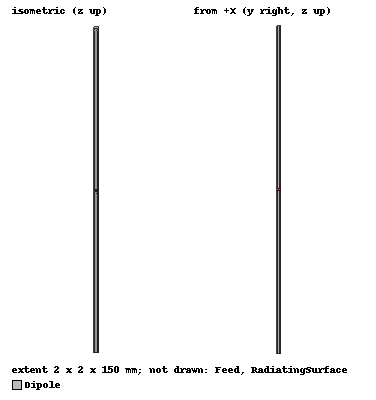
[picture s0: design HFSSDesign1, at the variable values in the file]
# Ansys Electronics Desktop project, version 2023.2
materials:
  vacuum: permittivity=1
  pec: conductivity=1e+30

design HFSSDesign1 (HFSS, HFSS Modal Network, model units mm)
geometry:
  Dipole [pec] = cylinder(axis=Z, base_centre=(0mm, 0mm, (-150/2) mm), radius=1mm, height=150mm)
  Feed [vacuum] = cylinder(axis=Z, base_centre=(0mm, 0mm, (-1/2) mm), radius=1mm, height=1mm)
  Feed_1 = Feed.copy()
  Dipole.subtract(Feed_1)
  Feed_Section1 = Feed.section(plane=YZ)
  RadiatingSurface [vacuum] = region(absolute_offset=100mm on all sides)
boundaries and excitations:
  Open1: Radiation Objects=RadiatingSurface
  1: Lumped Port Objects=Feed_Section1 LumpedPortType=Modal Modes{Mode1{IntLine{(0, 0, -0.5) -> (0, 0, 0.5)} CharImp=Zpi RenormImp=50ohm}} Impedance=50ohm
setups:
  Setup1: HfssDriven Frequency=1GHz MaxDeltaS=0.02 MaximumPasses=6 MinimumPasses=1 MinimumConvergedPasses=1 PercentRefinement=30 BasisOrder=1 PortAccuracy=2 DrivenSolverType="Direct Solver"
    sweep Sweep: 700MHz to 1.3GHz step 1MHz; Type=Interpolating InterpTolerance=0.5 InterpMaxSolns=250 InterpUsePortImped=false PassivityErrorTolerance=0.0001
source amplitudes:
  1:1: 1W 0deg
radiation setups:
  3D: Infinite Sphere Theta=0deg..180deg step 2deg Phi=-180deg..180deg step 2deg
  Elevation: Infinite Sphere Theta=-180deg..180deg step 1deg Phi=0deg..90deg step 90deg
  Azimuth: Infinite Sphere Theta=90deg..90deg step 0deg Phi=-180deg..180deg step 1deg
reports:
  S Parameter Plot 1: dB(S(1,1)) vs Freq on Setup1 : Sweep
  S Parameter Plot 2: dB(S(1,1)) vs Freq on Setup1 : Sweep
  S Parameter Plot 3: dB(S(1,1)) vs Freq on Setup1 : Sweep
  S Parameter Plot 4: dB(S(1,1)) vs Freq on Setup1 : Sweep
  Gain Plot 1: GainTotal vs Phi, Theta on Setup1 : LastAdaptive, 3D [Freq=1GHz]
